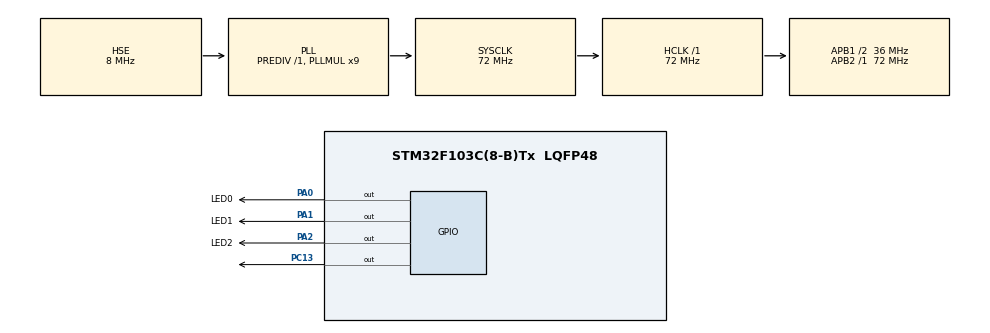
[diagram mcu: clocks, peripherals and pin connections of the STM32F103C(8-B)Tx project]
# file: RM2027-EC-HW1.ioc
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Mcu.Family=STM32F1
Mcu.Name=STM32F103C(8-B)Tx
Mcu.Package=LQFP48
NVIC.PriorityGroup=NVIC_PRIORITYGROUP_4
PA0-WKUP.GPIO_Label=LED0
PA0-WKUP.Signal=GPIO_Output
PA1.GPIO_Label=LED1
PA1.Signal=GPIO_Output
PA13.Mode=Serial_Wire
PA13.Signal=SYS_JTMS-SWDIO
PA14.Mode=Serial_Wire
PA14.Signal=SYS_JTCK-SWCLK
PA2.GPIO_Label=LED2
PA2.Signal=GPIO_Output
PC13-TAMPER-RTC.GPIO_PuPd=GPIO_NOPULL
PC13-TAMPER-RTC.Signal=GPIO_Output
PD0-OSC_IN.Mode=HSE-External-Oscillator
PD0-OSC_IN.Signal=RCC_OSC_IN
PD1-OSC_OUT.Mode=HSE-External-Oscillator
PD1-OSC_OUT.Signal=RCC_OSC_OUT
ProjectManager.HeapSize=0x200
ProjectManager.StackSize=0x400
ProjectManager.TargetToolchain=CMake
RCC.AHBFreq_Value=72000000
RCC.APB1CLKDivider=RCC_HCLK_DIV2
RCC.APB1Freq_Value=36000000
RCC.APB1TimFreq_Value=72000000
RCC.APB2Freq_Value=72000000
RCC.APB2TimFreq_Value=72000000
RCC.HCLKFreq_Value=72000000
RCC.PLLMUL=RCC_PLL_MUL9
RCC.PLLSourceVirtual=RCC_PLLSOURCE_HSE
RCC.SYSCLKFreq_VALUE=72000000
RCC.SYSCLKSource=RCC_SYSCLKSOURCE_PLLCLK
RCC.USBFreq_Value=72000000
board=custom

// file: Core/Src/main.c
/* USER CODE BEGIN Header */
/**
  ******************************************************************************
  * @file           : main.c
  * @brief          : Main program body
  ******************************************************************************
  * @attention
  *
  * Copyright (c) 2026 STMicroelectronics.
  * All rights reserved.
  *
  * This software is licensed under terms that can be found in the LICENSE file
  * in the root directory of this software component.
  * If no LICENSE file comes with this software, it is provided AS-IS.
  *
  ******************************************************************************
  */
/* USER CODE END Header */
#include "main.h"
#include "gpio.h"

void SystemClock_Config(void);

int main(void)
{

  /* MCU Configuration--------------------------------------------------------*/

  /* Reset of all peripherals, Initializes the Flash interface and the Systick. */
  HAL_Init();

  /* Configure the system clock */
  SystemClock_Config();

  /* Initialize all configured peripherals */
  MX_GPIO_Init();

  /* Infinite loop */
  /* USER CODE BEGIN WHILE */
  uint32_t lastclick = 0;
  uint32_t step = 0;
  while (1)
  {
    /* USER CODE END WHILE */

    /* USER CODE BEGIN 3 */
    uint32_t now = HAL_GetTick();
    if (now-lastclick>=500)
    {
      lastclick = now;

      HAL_GPIO_WritePin(LED0_GPIO_Port, LED0_Pin, GPIO_PIN_RESET);
      HAL_GPIO_WritePin(LED1_GPIO_Port, LED1_Pin, GPIO_PIN_RESET);
      HAL_GPIO_WritePin(LED2_GPIO_Port, LED2_Pin, GPIO_PIN_RESET);

      if (step==0)
      {
        HAL_GPIO_WritePin(LED0_GPIO_Port, LED0_Pin, GPIO_PIN_SET);
      } else if (step==1)
      {
        HAL_GPIO_WritePin(LED1_GPIO_Port, LED1_Pin, GPIO_PIN_SET);
      } else if (step==2)
      {
        HAL_GPIO_WritePin(LED2_GPIO_Port, LED2_Pin, GPIO_PIN_SET);
      }

      step++;
      step=step%4;
    }
    /* USER CODE END 3 */
  }

}
void SystemClock_Config(void)
{
  RCC_OscInitTypeDef RCC_OscInitStruct = {0};
  RCC_ClkInitTypeDef RCC_ClkInitStruct = {0};

  /** Initializes the RCC Oscillators according to the specified parameters
  * in the RCC_OscInitTypeDef structure.
  */
  RCC_OscInitStruct.OscillatorType = RCC_OSCILLATORTYPE_HSE;
  RCC_OscInitStruct.HSEState = RCC_HSE_ON;
  RCC_OscInitStruct.HSEPredivValue = RCC_HSE_PREDIV_DIV1;
  RCC_OscInitStruct.HSIState = RCC_HSI_ON;
  RCC_OscInitStruct.PLL.PLLState = RCC_PLL_ON;
  RCC_OscInitStruct.PLL.PLLSource = RCC_PLLSOURCE_HSE;
  RCC_OscInitStruct.PLL.PLLMUL = RCC_PLL_MUL9;
  if (HAL_RCC_OscConfig(&RCC_OscInitStruct) != HAL_OK)
  {
    Error_Handler();
  }

  /** Initializes the CPU, AHB and APB buses clocks
  */
  RCC_ClkInitStruct.ClockType = RCC_CLOCKTYPE_HCLK|RCC_CLOCKTYPE_SYSCLK
                              |RCC_CLOCKTYPE_PCLK1|RCC_CLOCKTYPE_PCLK2;
  RCC_ClkInitStruct.SYSCLKSource = RCC_SYSCLKSOURCE_PLLCLK;
  RCC_ClkInitStruct.AHBCLKDivider = RCC_SYSCLK_DIV1;
  RCC_ClkInitStruct.APB1CLKDivider = RCC_HCLK_DIV2;
  RCC_ClkInitStruct.APB2CLKDivider = RCC_HCLK_DIV1;

  if (HAL_RCC_ClockConfig(&RCC_ClkInitStruct, FLASH_LATENCY_2) != HAL_OK)
  {
    Error_Handler();
  }
}

void Error_Handler(void)
{
    __disable_irq();
    while (1)
    {
    }
}
